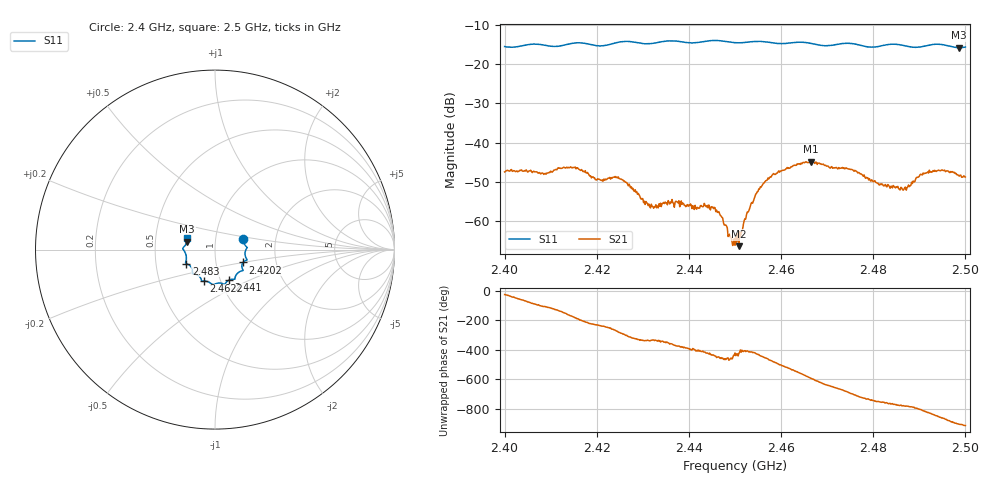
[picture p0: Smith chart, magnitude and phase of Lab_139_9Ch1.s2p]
# Hz S RI R 50
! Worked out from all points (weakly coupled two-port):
!   601 points, 2.4 GHz to 2.5 GHz, reference 50 ohm
!   highest |S21| = -44.91 dB at 2.4665 GHz (marker M1); lowest = -66.5 dB at 2.4508 GHz (marker M2)
!   lowest |S11| = -15.8 dB at 2.4987 GHz (marker M3), VSWR 1.39, Z = 36.4 + j3.28 ohm
!   |S11| at or under -10 dB: start of sweep to end of sweep
!   S12 and S22 are empty: the file has one direction only
!   S11 on the Smith chart (normalised r, x): 2.4 GHz: 1.36, +0.17; 2.4202 GHz: 1.35, -0.20; 2.441 GHz: 1.09, -0.39; 2.4622 GHz: 0.83, -0.30; 2.483 GHz: 0.72, -0.12; 2.5 GHz: 0.73, +0.09
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2.4e9  0.1565 0.0605  0.00384 -0.00174  0 0  0 0
2.416667e9  0.1776 -0.0582  -0.00425 0.00153  0 0  0 0
2.420167e9  0.156 -0.0718  -0.00214 0.00269  0 0  0 0
2.425167e9  0.156 -0.1135  0.000946 0.00327  0 0  0 0
2.430667e9  0.1283 -0.1295  0.00162 0.000704  0 0  0 0
2.433333e9  0.1129 -0.1525  0.00133 0.000623  0 0  0 0
2.441e9  0.0768 -0.1705  0.00121 -0.000809  0 0  0 0
2.4455e9  0.0529 -0.1937  0.000279 -0.00146  0 0  0 0
2.45e9  0.0267 -0.1862  0.000238 -0.000426  0 0  0 0
2.450833e9  0.0183 -0.1866  0.000202 -0.00043  0 0  0 0
2.453e9  -0.000339 -0.1919  0.00078 -0.00109  0 0  0 0
2.455667e9  -0.0127 -0.1947  0.000355 -0.00267  0 0  0 0
2.462167e9  -0.0633 -0.1762  -0.00486 -0.000722  0 0  0 0
2.4665e9  -0.0761 -0.168  -0.00344 0.00452  0 0  0 0
2.466667e9  -0.0765 -0.1669  -0.00313 0.0046  0 0  0 0
2.475833e9  -0.1255 -0.1315  0.00415 0.00113  0 0  0 0
2.483e9  -0.1592 -0.078  0.00207 -0.00177  0 0  0 0
2.483333e9  -0.1608 -0.0773  0.00197 -0.00204  0 0  0 0
2.486833e9  -0.1608 -0.0608  0.00126 -0.00233  0 0  0 0
2.492667e9  -0.1775 0.00168  -0.00175 -0.00379  0 0  0 0
2.498667e9  -0.156 0.0439  -0.00371 0.000359  0 0  0 0
2.5e9  -0.1533 0.0628  -0.00353 0.000801  0 0  0 0
